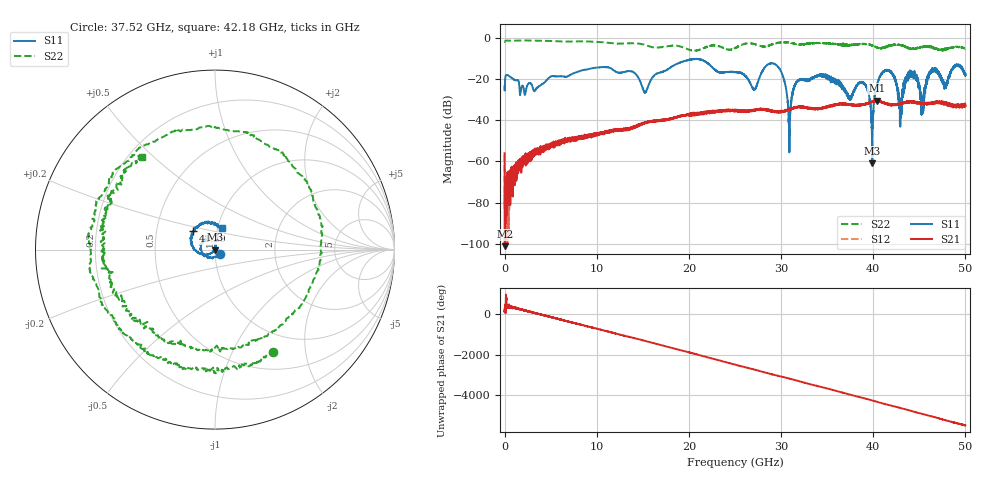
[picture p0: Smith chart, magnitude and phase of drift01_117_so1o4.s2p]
!Created with skrf (http://scikit-rf.org).
# Hz S RI R 50.0
!freq ReS11 ImS11 ReS21 ImS21 ReS12 ImS12 ReS22 ImS22
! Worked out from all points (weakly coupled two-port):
!   10001 points, 300 kHz to 50 GHz, reference 50 ohm
!   highest |S21| = -30.51 dB at 40.39 GHz (marker M1); lowest = -101.1 dB at 20.3 MHz (marker M2)
!   lowest |S11| = -61.0 dB at 39.89 GHz (marker M3), VSWR 1.00, Z = 49.9 + j0.0443 ohm
!   |S11| at or under -10 dB: start of sweep to end of sweep
!   |S22| runs from -6.4 to -1.4 dB; largest |S21 - S12| = 0.0035
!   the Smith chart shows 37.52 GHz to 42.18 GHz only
!   S11 on the Smith chart (normalised r, x): 37.52 GHz: 1.05, -0.05; 41.29 GHz: 0.77, +0.16; 42.18 GHz: 1.05, +0.26
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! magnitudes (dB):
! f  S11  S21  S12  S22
! 300 kHz  -23.6  -56.0  -56.7  -2.1
! 20.3 MHz  -23.8  -101.1  -75.9  -1.9
! 8.335 GHz  -16.0  -48.1  -48.3  -1.8
! 16.67 GHz  -17.1  -40.2  -40.3  -4.8
! 25 GHz  -16.6  -35.4  -35.5  -5.0
! 27.1 GHz  -25.2  -35.3  -35.1  -3.1
! 29.44 GHz  -13.1  -36.1  -36.0  -2.7
! 30.92 GHz  -47.7  -34.9  -34.9  -2.5
! 31.68 GHz  -21.6  -33.7  -33.8  -3.2
! 33.34 GHz  -19.7  -34.4  -34.2  -2.7
! 37.52 GHz  -28.8  -32.6  -32.5  -3.7
! 38.97 GHz  -21.9  -32.3  -32.2  -3.2
! 39.89 GHz  -61.0  -31.2  -31.2  -3.8
! 40.39 GHz  -23.1  -30.5  -30.9  -4.8
! 41.29 GHz  -15.9  -31.9  -31.6  -4.6
! 41.67 GHz  -15.8  -32.4  -32.3  -3.9
! 42.18 GHz  -18.0  -32.7  -32.7  -3.6
! 42.93 GHz  -38.6  -31.9  -32.1  -3.7
! 44.03 GHz  -17.8  -30.9  -31.3  -5.3
! 45.31 GHz  -33.9  -31.9  -32.1  -4.4
! 46.42 GHz  -15.6  -32.1  -31.5  -4.7
! 50 GHz  -17.7  -33.2  -32.6  -5.3
